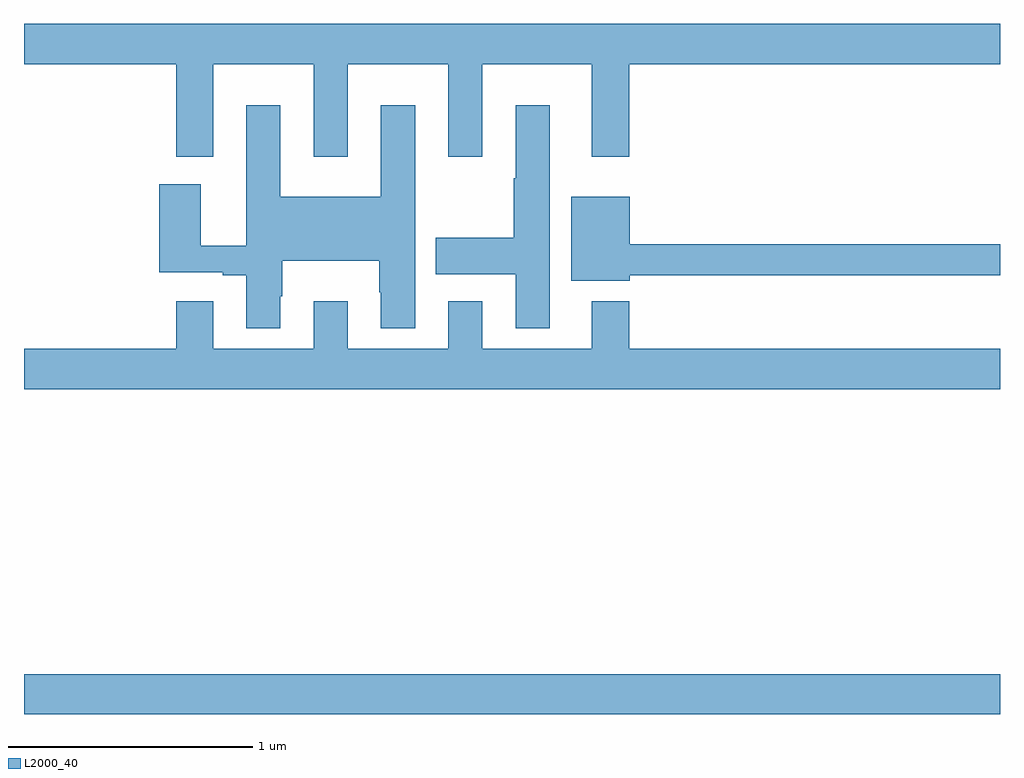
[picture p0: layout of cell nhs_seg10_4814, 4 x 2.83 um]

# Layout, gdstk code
import gdstk
lib = gdstk.Library(unit=1e-6, precision=1e-09)
def R(c, l, rs):  # rectangles x0, y0, x1, y1
    for r in rs: c.add(gdstk.rectangle(r[:2], r[2:], *l))
def P(c, l, *ps):  # polygons
    for p in ps: c.add(gdstk.Polygon(p, *l))
L2000_40 = (2000, 40)

nhs_seg10_4814 = lib.new_cell('nhs_seg10_4814')
R(nhs_seg10_4814, L2000_40, [(387,1318.964,391,1319.128)])
P(nhs_seg10_4814, L2000_40, [(387.775,1321.628),(388.187,1321.628),(388.187,1321.248),(388.327,1321.248),(388.327,1321.628),(388.739,1321.628),(388.739,1321.248),(388.879,1321.248),(388.879,1321.628),(389.327,1321.628),(389.327,1321.248),(389.48,1321.248),(389.48,1321.628),(391,1321.628),(391,1321.792),(387,1321.792),(387,1321.628),(387.623,1321.628),(387.623,1321.248),(387.775,1321.248)],
  [(388.051,1320.677),(388.059,1320.677),(388.059,1320.821),(388.456,1320.821),(388.456,1320.692),(388.463,1320.692),(388.463,1320.546),(388.603,1320.546),(388.603,1321.459),(388.463,1321.459),(388.463,1321.084),(388.051,1321.084),(388.051,1321.459),(387.911,1321.459),(387.911,1320.883),(387.724,1320.883),(387.724,1321.135),(387.554,1321.135),(387.554,1320.774),(387.815,1320.774),(387.815,1320.762),(387.911,1320.762),(387.911,1320.546),(388.051,1320.546)],
  [(389.155,1321.459),(389.015,1321.459),(389.015,1321.16),(389.008,1321.16),(389.008,1320.915),(388.688,1320.915),(388.688,1320.767),(389.015,1320.767),(389.015,1320.546),(389.155,1320.546)],
  [(389.482,1320.762),(391,1320.762),(391,1320.89),(389.482,1320.89),(389.482,1321.084),(389.243,1321.084),(389.243,1320.74),(389.482,1320.74)],
  [(391,1320.46),(389.48,1320.46),(389.48,1320.655),(389.327,1320.655),(389.327,1320.46),(388.879,1320.46),(388.879,1320.655),(388.739,1320.655),(388.739,1320.46),(388.327,1320.46),(388.327,1320.655),(388.187,1320.655),(388.187,1320.46),(387.775,1320.46),(387.775,1320.655),(387.623,1320.655),(387.623,1320.46),(387,1320.46),(387,1320.296),(391,1320.296)])

lib.write_gds('nhs_seg10_4814.gds')
